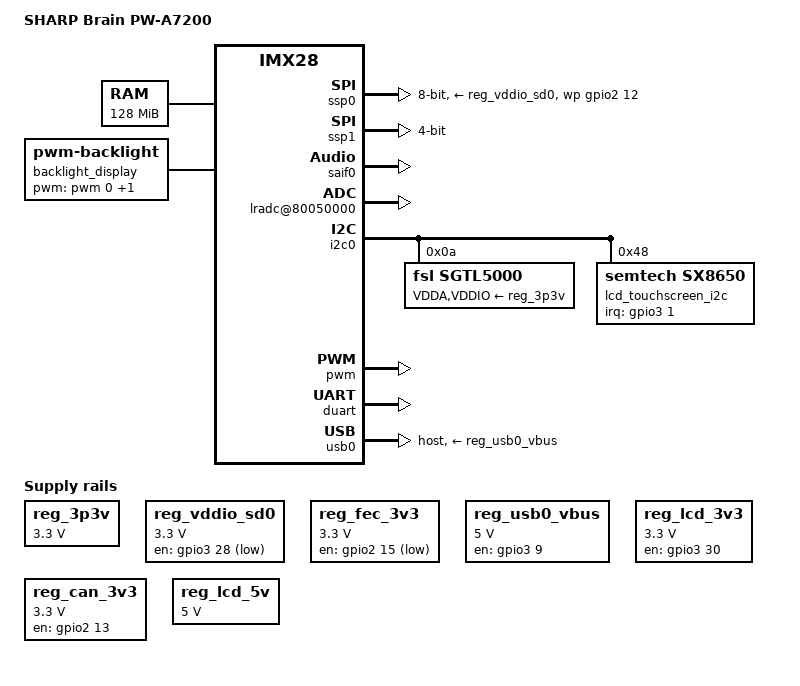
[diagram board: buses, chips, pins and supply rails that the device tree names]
// SPDX-License-Identifier: GPL-2.0+
//
// Copyright 2012 Freescale Semiconductor, Inc.

/dts-v1/;
#include "imx28.dtsi"

/ {
	model = "SHARP Brain PW-A7200";
	compatible = "sharp,pw-a7200", "fsl,imx28";

	memory@40000000 {
		device_type = "memory";
		reg = <0x40000000 0x08000000>;
	};


	reg_3p3v: regulator-3p3v {
		compatible = "regulator-fixed";
		regulator-name = "3P3V";
		regulator-min-microvolt = <3300000>;
		regulator-max-microvolt = <3300000>;
		regulator-always-on;
	};

	reg_vddio_sd0: regulator-vddio-sd0 {
		compatible = "regulator-fixed";
		regulator-name = "vddio-sd0";
		regulator-min-microvolt = <3300000>;
		regulator-max-microvolt = <3300000>;
		gpio = <&gpio3 28 0>;
	};

	reg_fec_3v3: regulator-fec-3v3 {
		compatible = "regulator-fixed";
		regulator-name = "fec-3v3";
		regulator-min-microvolt = <3300000>;
		regulator-max-microvolt = <3300000>;
		gpio = <&gpio2 15 0>;
	};

	reg_usb0_vbus: regulator-usb0-vbus {
		compatible = "regulator-fixed";
		regulator-name = "usb0_vbus";
		regulator-min-microvolt = <5000000>;
		regulator-max-microvolt = <5000000>;
		gpio = <&gpio3 9 0>;
		enable-active-high;
	};

	reg_lcd_3v3: regulator-lcd-3v3 {
		compatible = "regulator-fixed";
		regulator-name = "lcd-3v3";
		regulator-min-microvolt = <3300000>;
		regulator-max-microvolt = <3300000>;
		gpio = <&gpio3 30 0>;
		enable-active-high;
	};

	reg_can_3v3: regulator-can-3v3 {
		compatible = "regulator-fixed";
		regulator-name = "can-3v3";
		regulator-min-microvolt = <3300000>;
		regulator-max-microvolt = <3300000>;
		gpio = <&gpio2 13 0>;
		enable-active-high;
	};

	reg_lcd_5v: regulator-lcd-5v {
		compatible = "regulator-fixed";
		regulator-name = "lcd-5v";
		regulator-min-microvolt = <5000000>;
		regulator-max-microvolt = <5000000>;
	};

	apb@80000000 {
		apbh@80000000 {
			ssp0: spi@80010000 {
				compatible = "fsl,imx28-mmc";
				pinctrl-names = "default";
				pinctrl-0 = <&mmc0_8bit_pins_a
					&mmc0_cd_cfg &mmc0_sck_cfg>;
				bus-width = <8>;
				wp-gpios = <&gpio2 12 0>;
				vmmc-supply = <&reg_vddio_sd0>;
				status = "okay";
			};

			ssp1: spi@80012000 {
				compatible = "fsl,imx28-mmc";
				pinctrl-names = "default";
				pinctrl-0 = <&mmc1_4bit_pins_a
					&mmc1_cd_cfg &mmc1_sck_cfg>;
				bus-width = <4>;
				status = "okay";
			};

			pinctrl@80018000 {
				pinctrl-names = "default";
				pinctrl-0 = <&hog_pins_3v3_pullup &hog_pins_3v3_nopull &hog_pins_1v8_nopull>;

				hog_pins_3v3_pullup: hog@0 {
					reg = <0>;
					fsl,pinmux-ids = <
						MX28_PAD_GPMI_CLE__GPIO_0_27
					>;
					fsl,drive-strength = <MXS_DRIVE_4mA>;
					fsl,voltage = <MXS_VOLTAGE_HIGH>;
					fsl,pull-up = <MXS_PULL_ENABLE>;
				};

				hog_pins_3v3_nopull: hog@1 {
					reg = <1>;
					fsl,pinmux-ids = <
						MX28_PAD_SSP1_CMD__GPIO_2_13
						MX28_PAD_SSP1_DATA3__GPIO_2_15
						MX28_PAD_ENET0_RX_CLK__GPIO_4_13
						MX28_PAD_SSP1_SCK__GPIO_2_12
						MX28_PAD_PWM3__GPIO_3_28
						MX28_PAD_AUART2_RX__GPIO_3_8
						MX28_PAD_AUART2_TX__GPIO_3_9
					>;
					fsl,drive-strength = <MXS_DRIVE_4mA>;
					fsl,voltage = <MXS_VOLTAGE_HIGH>;
					fsl,pull-up = <MXS_PULL_DISABLE>;
				};

				hog_pins_1v8_nopull: hog@2 {
					reg = <2>;
					fsl,pinmux-ids = <
						MX28_PAD_GPMI_ALE__GPIO_0_26
					>;
					fsl,drive-strength = <MXS_DRIVE_4mA>;
					fsl,voltage = <MXS_VOLTAGE_LOW>;
					fsl,pull-up = <MXS_PULL_DISABLE>;
				};

				lcd_backlight: pwm@0 {
					reg = <0>;
					fsl,pinmux-ids = <
						MX28_PAD_AUART1_RX__PWM_0
						MX28_PAD_AUART1_TX__PWM_1
					>;
					fsl,drive-strength = <MXS_DRIVE_4mA>;
					fsl,voltage = <MXS_VOLTAGE_HIGH>;
					fsl,pull-up = <MXS_PULL_DISABLE>;
				};

				lcdif_pins: lcdif@0 {
					reg = <0>;
					fsl,pinmux-ids = <
						MX28_PAD_LCD_D00__LCD_D0
						MX28_PAD_LCD_D01__LCD_D1
						MX28_PAD_LCD_D02__LCD_D2
						MX28_PAD_LCD_D03__LCD_D3
						MX28_PAD_LCD_D04__LCD_D4
						MX28_PAD_LCD_D05__LCD_D5
						MX28_PAD_LCD_D06__LCD_D6
						MX28_PAD_LCD_D07__LCD_D7
						MX28_PAD_LCD_D08__LCD_D8
						MX28_PAD_LCD_D09__LCD_D9
						MX28_PAD_LCD_D10__LCD_D10
						MX28_PAD_LCD_D11__LCD_D11
						MX28_PAD_LCD_D12__LCD_D12
						MX28_PAD_LCD_D13__LCD_D13
						MX28_PAD_LCD_D14__LCD_D14
						MX28_PAD_LCD_D15__LCD_D15
						MX28_PAD_LCD_RD_E__LCD_RD_E
						MX28_PAD_LCD_WR_RWN__LCD_WR_RWN
						MX28_PAD_LCD_RS__LCD_RS
						MX28_PAD_LCD_CS__LCD_CS
						MX28_PAD_LCD_RESET__LCD_RESET
					>;
					fsl,drive-strength = <MXS_DRIVE_4mA>;
					fsl,voltage = <MXS_VOLTAGE_LOW>;
					fsl,pull-up = <MXS_PULL_DISABLE>;
				};
			};

			brainlcd: lcdif@80030000 {
				compatible = "sharp,brainlcd";
				pinctrl-names = "default";
				pinctrl-0 = <&lcdif_pins>;
				status = "disabled";
			};
		};

		apbx@80040000 {
			saif0: saif@80042000 {
				pinctrl-names = "default";
				pinctrl-0 = <&saif0_pins_a>;
				status = "okay";
			};

			saif1: saif@80046000 {
				status = "disabled";
			};

			lradc@80050000 {
				status = "okay";
				fsl,lradc-touchscreen-wires = <4>;
				fsl,ave-ctrl = <4>;
				fsl,ave-delay = <2>;
				fsl,settling = <10>;
			};

			mxs_rtc: rtc@80056000 {
				status = "disabled";
			};

			i2c0: i2c@80058000 {
				pinctrl-names = "default";
				pinctrl-0 = <&i2c0_pins_a>;
				status = "okay";

				sgtl5000: codec@a {
					compatible = "fsl,sgtl5000";
					reg = <0x0a>;
					#sound-dai-cells = <0>;
					VDDA-supply = <&reg_3p3v>;
					VDDIO-supply = <&reg_3p3v>;
					clocks = <&saif0>;
				};

				keyboard_i2c: keyboard_i2c@28 {
					status = "disabled";
					compatible = "sharp,brain-kbd-i2c";
					reg = <0x28>;
					interrupt-parent = <&gpio4>;
					interrupts = <2 4>;
				};

				lcd_touchscreen_i2c: sx8650@48 {
					compatible = "semtech,sx8650";
					reg = <0x48>;
					interrupt-parent = <&gpio3>;
					interrupts = <1 2>;
				};
			};

			i2c1: i2c@8005a000 {
				status = "disabled";
			};

			pwm: pwm@80064000 {
				pinctrl-names = "default";
				pinctrl-0 = <&lcd_backlight>;
				status = "okay";
			};

			duart: serial@80074000 {
				pinctrl-names = "default";
				pinctrl-0 = <&duart_pins_a>;
				status = "okay";
			};

			usbphy0: usbphy@8007c000 {
				status = "okay";
			};

			usbphy1: usbphy@8007e000 {
				status = "okay";
			};
		};
	};

	ahb@80080000 {
		usb0: usb@80080000 {
			pinctrl-names = "default";
			pinctrl-0 = <&usb0_id_pins_a>;
			vbus-supply = <&reg_usb0_vbus>;
			dr_mode = "host";
			status = "okay";
		};
	};

	sound {
		compatible = "fsl,imx28-evk-sgtl5000",
			     "fsl,mxs-audio-sgtl5000";
		model = "imx28-evk-sgtl5000";
		saif-controllers = <&saif0 &saif1>;
		audio-codec = <&sgtl5000>;
	};

	backlight_display: backlight {
		compatible = "pwm-backlight";
		pwms = <&pwm 0 50000>, <&pwm 1 50000>;
		brightness-levels = <0 4 8 16 32 64 128 255>;
		default-brightness-level = <4>;  //Set 4 for identification on probing
	};
};
